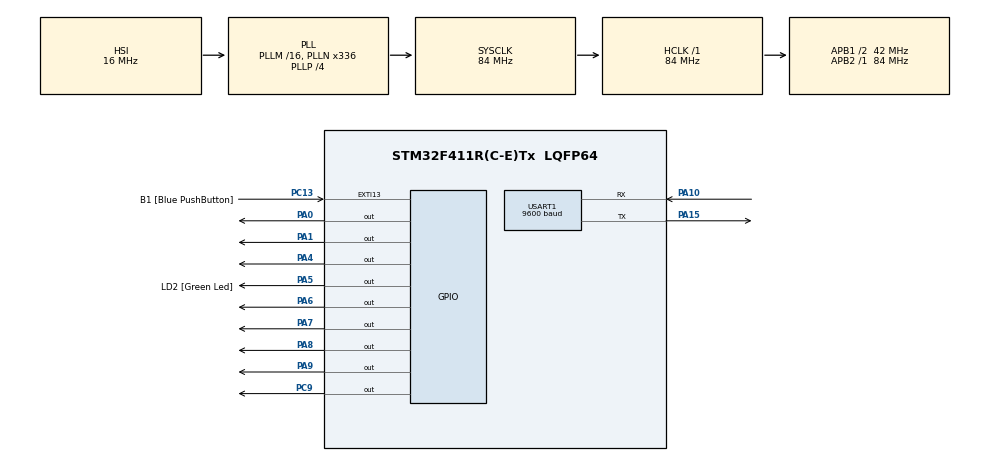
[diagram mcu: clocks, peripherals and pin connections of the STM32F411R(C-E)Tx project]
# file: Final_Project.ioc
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Mcu.Family=STM32F4
Mcu.Name=STM32F411R(C-E)Tx
Mcu.Package=LQFP64
NVIC.EXTI15_10_IRQn=true\:0\:0\:false\:false\:true\:true\:true
NVIC.PriorityGroup=NVIC_PRIORITYGROUP_0
NVIC.USART1_IRQn=true\:0\:0\:false\:false\:true\:true\:true
PA0-WKUP.Signal=GPIO_Output
PA1.Signal=GPIO_Output
PA10.Mode=Asynchronous
PA10.Signal=USART1_RX
PA13.GPIO_Label=TMS
PA13.Mode=Serial_Wire
PA13.Signal=SYS_JTMS-SWDIO
PA14.GPIO_Label=TCK
PA14.Mode=Serial_Wire
PA14.Signal=SYS_JTCK-SWCLK
PA15.Mode=Asynchronous
PA15.Signal=USART1_TX
PA2.GPIO_Label=USART_TX
PA2.Signal=USART2_TX
PA3.GPIO_Label=USART_RX
PA3.Signal=USART2_RX
PA4.Signal=GPIO_Output
PA5.GPIO_Label=LD2 [Green Led]
PA5.Signal=GPIO_Output
PA6.Signal=GPIO_Output
PA7.Signal=GPIO_Output
PA8.Signal=GPIO_Output
PA9.Signal=GPIO_Output
PB3.GPIO_Label=SWO
PB3.Signal=SYS_JTDO-SWO
PC13-ANTI_TAMP.GPIO_Label=B1 [Blue PushButton]
PC13-ANTI_TAMP.GPIO_ModeDefaultEXTI=GPIO_MODE_IT_FALLING
PC13-ANTI_TAMP.Signal=GPXTI13
PC14-OSC32_IN.Mode=LSE-External-Oscillator
PC14-OSC32_IN.Signal=RCC_OSC32_IN
PC15-OSC32_OUT.Mode=LSE-External-Oscillator
PC15-OSC32_OUT.Signal=RCC_OSC32_OUT
PC9.Signal=GPIO_Output
PH0\ -\ OSC_IN.Mode=HSE-External-Clock-Source
PH0\ -\ OSC_IN.Signal=RCC_OSC_IN
PH1\ -\ OSC_OUT.Mode=HSE-External-Clock-Source
PH1\ -\ OSC_OUT.Signal=RCC_OSC_OUT
ProjectManager.HeapSize=0x200
ProjectManager.StackSize=0x400
ProjectManager.TargetToolchain=STM32CubeIDE
RCC.48MHZClocksFreq_Value=84000000
RCC.AHBFreq_Value=84000000
RCC.APB1CLKDivider=RCC_HCLK_DIV2
RCC.APB1Freq_Value=42000000
RCC.APB1TimFreq_Value=84000000
RCC.APB2Freq_Value=84000000
RCC.APB2TimFreq_Value=84000000
RCC.CortexFreq_Value=84000000
RCC.FLatency-AdvancedSettings=FLASH_LATENCY_2
RCC.HCLKFreq_Value=84000000
RCC.HSE_VALUE=8000000
RCC.HSI_VALUE=16000000
RCC.PLLN=336
RCC.PLLP=RCC_PLLP_DIV4
RCC.SYSCLKFreq_VALUE=84000000
RCC.SYSCLKSource=RCC_SYSCLKSOURCE_PLLCLK
RCC.VCOOutputFreq_Value=336000000
USART1.BaudRate=9600
USART1.VirtualMode=VM_ASYNC
board=NUCLEO-F411RE

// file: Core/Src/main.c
/* USER CODE BEGIN Header */
/**
  ******************************************************************************
  * @file           : main.c
  * @brief          : Main program body
  ******************************************************************************
  * @attention
  *
  * <h2><center>&copy; Copyright (c) 2021 STMicroelectronics.
  * All rights reserved.</center></h2>
  *
  * This software component is licensed by ST under BSD 3-Clause license,
  * the "License"; You may not use this file except in compliance with the
  * License. You may obtain a copy of the License at:
  *                        opensource.org/licenses/BSD-3-Clause
  *
  ******************************************************************************
  */
/* USER CODE END Header */
#include "main.h"

UART_HandleTypeDef huart1;

void SystemClock_Config(void);
static void MX_GPIO_Init(void);
static void MX_USART1_UART_Init(void);

/* USER CODE BEGIN 0 */
uint8_t floor = 0;
uint8_t emergency=0;
void HAL_UART_RxCpltCallback(UART_HandleTypeDef *huart) {
	HAL_UART_Receive_IT(&huart1, &floor, 1);
}
void HAL_GPIO_EXTI_Callback(uint16_t GPIO_Pin)
{
	emergency = (emergency+1)%2;
	HAL_UART_Transmit(&huart1, &emergency, 1, 100);
}

/* USER CODE END 0 */

int main(void)
{

  /* MCU Configuration--------------------------------------------------------*/

  /* Reset of all peripherals, Initializes the Flash interface and the Systick. */
  HAL_Init();

  /* Configure the system clock */
  SystemClock_Config();

  /* Initialize all configured peripherals */
  MX_GPIO_Init();
  MX_USART1_UART_Init();
  /* USER CODE BEGIN 2 */
  HAL_UART_Receive_IT(&huart1, &floor, 1);

  /* USER CODE END 2 */

  /* Infinite loop */
  while (1)
  {

    /* USER CODE BEGIN 3 */

	  if(floor==0){
		  HAL_GPIO_WritePin(GPIOA, GPIO_PIN_0, GPIO_PIN_SET);
		  HAL_GPIO_WritePin(GPIOA, GPIO_PIN_1, GPIO_PIN_SET);
		  HAL_GPIO_WritePin(GPIOA, GPIO_PIN_9, GPIO_PIN_SET);
		  HAL_GPIO_WritePin(GPIOA, GPIO_PIN_8, GPIO_PIN_SET);
		  HAL_GPIO_WritePin(GPIOA, GPIO_PIN_4, GPIO_PIN_SET);
		  HAL_GPIO_WritePin(GPIOA, GPIO_PIN_5, GPIO_PIN_SET);
		  HAL_GPIO_WritePin(GPIOA, GPIO_PIN_6, GPIO_PIN_RESET);
//		  HAL_GPIO_WritePin(GPIOA, GPIO_PIN_7, GPIO_PIN_RESET);
	  }
	  else if(floor==1){
		  HAL_GPIO_WritePin(GPIOA, GPIO_PIN_0, GPIO_PIN_RESET);
		  HAL_GPIO_WritePin(GPIOA, GPIO_PIN_1, GPIO_PIN_SET);
		  HAL_GPIO_WritePin(GPIOA, GPIO_PIN_9, GPIO_PIN_SET);
		  HAL_GPIO_WritePin(GPIOA, GPIO_PIN_8, GPIO_PIN_RESET);
		  HAL_GPIO_WritePin(GPIOA, GPIO_PIN_4, GPIO_PIN_RESET);
		  HAL_GPIO_WritePin(GPIOA, GPIO_PIN_5, GPIO_PIN_RESET);
		  HAL_GPIO_WritePin(GPIOA, GPIO_PIN_6, GPIO_PIN_RESET);
//		  HAL_GPIO_WritePin(GPIOA, GPIO_PIN_7, GPIO_PIN_RESET);
	  }
	  else if(floor==2){
		  HAL_GPIO_WritePin(GPIOA, GPIO_PIN_0, GPIO_PIN_SET);
		  HAL_GPIO_WritePin(GPIOA, GPIO_PIN_1, GPIO_PIN_SET);
		  HAL_GPIO_WritePin(GPIOA, GPIO_PIN_9, GPIO_PIN_RESET);
		  HAL_GPIO_WritePin(GPIOA, GPIO_PIN_8, GPIO_PIN_SET);
		  HAL_GPIO_WritePin(GPIOA, GPIO_PIN_4, GPIO_PIN_SET);
		  HAL_GPIO_WritePin(GPIOA, GPIO_PIN_5, GPIO_PIN_RESET);
		  HAL_GPIO_WritePin(GPIOA, GPIO_PIN_6, GPIO_PIN_SET);
//		  HAL_GPIO_WritePin(GPIOA, GPIO_PIN_7, GPIO_PIN_RESET);
	  }
	  else if(floor==3){
		  HAL_GPIO_WritePin(GPIOA, GPIO_PIN_0, GPIO_PIN_SET);
		  HAL_GPIO_WritePin(GPIOA, GPIO_PIN_1, GPIO_PIN_SET);
		  HAL_GPIO_WritePin(GPIOA, GPIO_PIN_9, GPIO_PIN_SET);
		  HAL_GPIO_WritePin(GPIOA, GPIO_PIN_8, GPIO_PIN_SET);
		  HAL_GPIO_WritePin(GPIOA, GPIO_PIN_4, GPIO_PIN_RESET);
		  HAL_GPIO_WritePin(GPIOA, GPIO_PIN_5, GPIO_PIN_RESET);
		  HAL_GPIO_WritePin(GPIOA, GPIO_PIN_6, GPIO_PIN_SET);
//		  HAL_GPIO_WritePin(GPIOA, GPIO_PIN_7, GPIO_PIN_RESET);
	  }
	  else if(floor==4){
		  HAL_GPIO_WritePin(GPIOA, GPIO_PIN_0, GPIO_PIN_RESET);
		  HAL_GPIO_WritePin(GPIOA, GPIO_PIN_1, GPIO_PIN_SET);
		  HAL_GPIO_WritePin(GPIOA, GPIO_PIN_9, GPIO_PIN_SET);
		  HAL_GPIO_WritePin(GPIOA, GPIO_PIN_8, GPIO_PIN_RESET);
		  HAL_GPIO_WritePin(GPIOA, GPIO_PIN_4, GPIO_PIN_RESET);
		  HAL_GPIO_WritePin(GPIOA, GPIO_PIN_5, GPIO_PIN_SET);
		  HAL_GPIO_WritePin(GPIOA, GPIO_PIN_6, GPIO_PIN_SET);
//		  HAL_GPIO_WritePin(GPIOA, GPIO_PIN_7, GPIO_PIN_RESET);
	  }
	  else if(floor==5){
		  HAL_GPIO_WritePin(GPIOA, GPIO_PIN_0, GPIO_PIN_SET);
		  HAL_GPIO_WritePin(GPIOA, GPIO_PIN_1, GPIO_PIN_RESET);
		  HAL_GPIO_WritePin(GPIOA, GPIO_PIN_9, GPIO_PIN_SET);
		  HAL_GPIO_WritePin(GPIOA, GPIO_PIN_8, GPIO_PIN_SET);
		  HAL_GPIO_WritePin(GPIOA, GPIO_PIN_4, GPIO_PIN_RESET);
		  HAL_GPIO_WritePin(GPIOA, GPIO_PIN_5, GPIO_PIN_SET);
		  HAL_GPIO_WritePin(GPIOA, GPIO_PIN_6, GPIO_PIN_SET);
//		  HAL_GPIO_WritePin(GPIOA, GPIO_PIN_7, GPIO_PIN_RESET);
	  }
	  else if(floor==6){
		  HAL_GPIO_WritePin(GPIOA, GPIO_PIN_0, GPIO_PIN_SET);
		  HAL_GPIO_WritePin(GPIOA, GPIO_PIN_1, GPIO_PIN_RESET);
		  HAL_GPIO_WritePin(GPIOA, GPIO_PIN_9, GPIO_PIN_SET);
		  HAL_GPIO_WritePin(GPIOA, GPIO_PIN_8, GPIO_PIN_SET);
		  HAL_GPIO_WritePin(GPIOA, GPIO_PIN_4, GPIO_PIN_SET);
		  HAL_GPIO_WritePin(GPIOA, GPIO_PIN_5, GPIO_PIN_SET);
		  HAL_GPIO_WritePin(GPIOA, GPIO_PIN_6, GPIO_PIN_SET);
//		  HAL_GPIO_WritePin(GPIOA, GPIO_PIN_7, GPIO_PIN_RESET);
	  }
//	  else{
//		  HAL_GPIO_WritePin(GPIOA, GPIO_PIN_0, GPIO_PIN_SET);
//		  HAL_GPIO_WritePin(GPIOA, GPIO_PIN_1, GPIO_PIN_RESET);
//		  HAL_GPIO_WritePin(GPIOA, GPIO_PIN_9, GPIO_PIN_RESET);
//		  HAL_GPIO_WritePin(GPIOA, GPIO_PIN_8, GPIO_PIN_RESET);
//		  HAL_GPIO_WritePin(GPIOA, GPIO_PIN_4, GPIO_PIN_RESET);
//		  HAL_GPIO_WritePin(GPIOA, GPIO_PIN_5, GPIO_PIN_RESET);
//		  HAL_GPIO_WritePin(GPIOA, GPIO_PIN_6, GPIO_PIN_RESET);
//		  HAL_GPIO_WritePin(GPIOA, GPIO_PIN_7, GPIO_PIN_SET);
//	  }
  }
  /* USER CODE END 3 */
}

void SystemClock_Config(void)
{
  RCC_OscInitTypeDef RCC_OscInitStruct = {0};
  RCC_ClkInitTypeDef RCC_ClkInitStruct = {0};

  /** Configure the main internal regulator output voltage
  */
  __HAL_RCC_PWR_CLK_ENABLE();
  __HAL_PWR_VOLTAGESCALING_CONFIG(PWR_REGULATOR_VOLTAGE_SCALE1);
  /** Initializes the RCC Oscillators according to the specified parameters
  * in the RCC_OscInitTypeDef structure.
  */
  RCC_OscInitStruct.OscillatorType = RCC_OSCILLATORTYPE_HSI;
  RCC_OscInitStruct.HSIState = RCC_HSI_ON;
  RCC_OscInitStruct.HSICalibrationValue = RCC_HSICALIBRATION_DEFAULT;
  RCC_OscInitStruct.PLL.PLLState = RCC_PLL_ON;
  RCC_OscInitStruct.PLL.PLLSource = RCC_PLLSOURCE_HSI;
  RCC_OscInitStruct.PLL.PLLM = 16;
  RCC_OscInitStruct.PLL.PLLN = 336;
  RCC_OscInitStruct.PLL.PLLP = RCC_PLLP_DIV4;
  RCC_OscInitStruct.PLL.PLLQ = 4;
  if (HAL_RCC_OscConfig(&RCC_OscInitStruct) != HAL_OK)
  {
    Error_Handler();
  }
  /** Initializes the CPU, AHB and APB buses clocks
  */
  RCC_ClkInitStruct.ClockType = RCC_CLOCKTYPE_HCLK|RCC_CLOCKTYPE_SYSCLK
                              |RCC_CLOCKTYPE_PCLK1|RCC_CLOCKTYPE_PCLK2;
  RCC_ClkInitStruct.SYSCLKSource = RCC_SYSCLKSOURCE_PLLCLK;
  RCC_ClkInitStruct.AHBCLKDivider = RCC_SYSCLK_DIV1;
  RCC_ClkInitStruct.APB1CLKDivider = RCC_HCLK_DIV2;
  RCC_ClkInitStruct.APB2CLKDivider = RCC_HCLK_DIV1;

  if (HAL_RCC_ClockConfig(&RCC_ClkInitStruct, FLASH_LATENCY_2) != HAL_OK)
  {
    Error_Handler();
  }
}

static void MX_USART1_UART_Init(void)
{

  huart1.Instance = USART1;
  huart1.Init.BaudRate = 9600;
  huart1.Init.WordLength = UART_WORDLENGTH_8B;
  huart1.Init.StopBits = UART_STOPBITS_1;
  huart1.Init.Parity = UART_PARITY_NONE;
  huart1.Init.Mode = UART_MODE_TX_RX;
  huart1.Init.HwFlowCtl = UART_HWCONTROL_NONE;
  huart1.Init.OverSampling = UART_OVERSAMPLING_16;
  if (HAL_UART_Init(&huart1) != HAL_OK)
  {
    Error_Handler();
  }

}

static void MX_GPIO_Init(void)
{
  GPIO_InitTypeDef GPIO_InitStruct = {0};

  /* GPIO Ports Clock Enable */
  __HAL_RCC_GPIOC_CLK_ENABLE();
  __HAL_RCC_GPIOH_CLK_ENABLE();
  __HAL_RCC_GPIOA_CLK_ENABLE();
  __HAL_RCC_GPIOB_CLK_ENABLE();

  /*Configure GPIO pin Output Level */
  HAL_GPIO_WritePin(GPIOA, GPIO_PIN_0|GPIO_PIN_1|GPIO_PIN_4|LD2_Pin
                          |GPIO_PIN_6|GPIO_PIN_7|GPIO_PIN_8|GPIO_PIN_9, GPIO_PIN_RESET);

  /*Configure GPIO pin Output Level */
  HAL_GPIO_WritePin(GPIOC, GPIO_PIN_9, GPIO_PIN_RESET);

  /*Configure GPIO pin : B1_Pin */
  GPIO_InitStruct.Pin = B1_Pin;
  GPIO_InitStruct.Mode = GPIO_MODE_IT_FALLING;
  GPIO_InitStruct.Pull = GPIO_NOPULL;
  HAL_GPIO_Init(B1_GPIO_Port, &GPIO_InitStruct);

  /*Configure GPIO pins : PA0 PA1 PA4 LD2_Pin
                           PA6 PA7 PA8 PA9 */
  GPIO_InitStruct.Pin = GPIO_PIN_0|GPIO_PIN_1|GPIO_PIN_4|LD2_Pin
                          |GPIO_PIN_6|GPIO_PIN_7|GPIO_PIN_8|GPIO_PIN_9;
  GPIO_InitStruct.Mode = GPIO_MODE_OUTPUT_PP;
  GPIO_InitStruct.Pull = GPIO_NOPULL;
  GPIO_InitStruct.Speed = GPIO_SPEED_FREQ_LOW;
  HAL_GPIO_Init(GPIOA, &GPIO_InitStruct);

  /*Configure GPIO pins : USART_TX_Pin USART_RX_Pin */
  GPIO_InitStruct.Pin = USART_TX_Pin|USART_RX_Pin;
  GPIO_InitStruct.Mode = GPIO_MODE_AF_PP;
  GPIO_InitStruct.Pull = GPIO_NOPULL;
  GPIO_InitStruct.Speed = GPIO_SPEED_FREQ_VERY_HIGH;
  GPIO_InitStruct.Alternate = GPIO_AF7_USART2;
  HAL_GPIO_Init(GPIOA, &GPIO_InitStruct);

  /*Configure GPIO pin : PC9 */
  GPIO_InitStruct.Pin = GPIO_PIN_9;
  GPIO_InitStruct.Mode = GPIO_MODE_OUTPUT_PP;
  GPIO_InitStruct.Pull = GPIO_NOPULL;
  GPIO_InitStruct.Speed = GPIO_SPEED_FREQ_LOW;
  HAL_GPIO_Init(GPIOC, &GPIO_InitStruct);

  /* EXTI interrupt init*/
  HAL_NVIC_SetPriority(EXTI15_10_IRQn, 0, 0);
  HAL_NVIC_EnableIRQ(EXTI15_10_IRQn);

}

void Error_Handler(void)
{
  __disable_irq();
  while (1)
  {
  }
}

/************************ (C) COPYRIGHT STMicroelectronics *****END OF FILE****/
